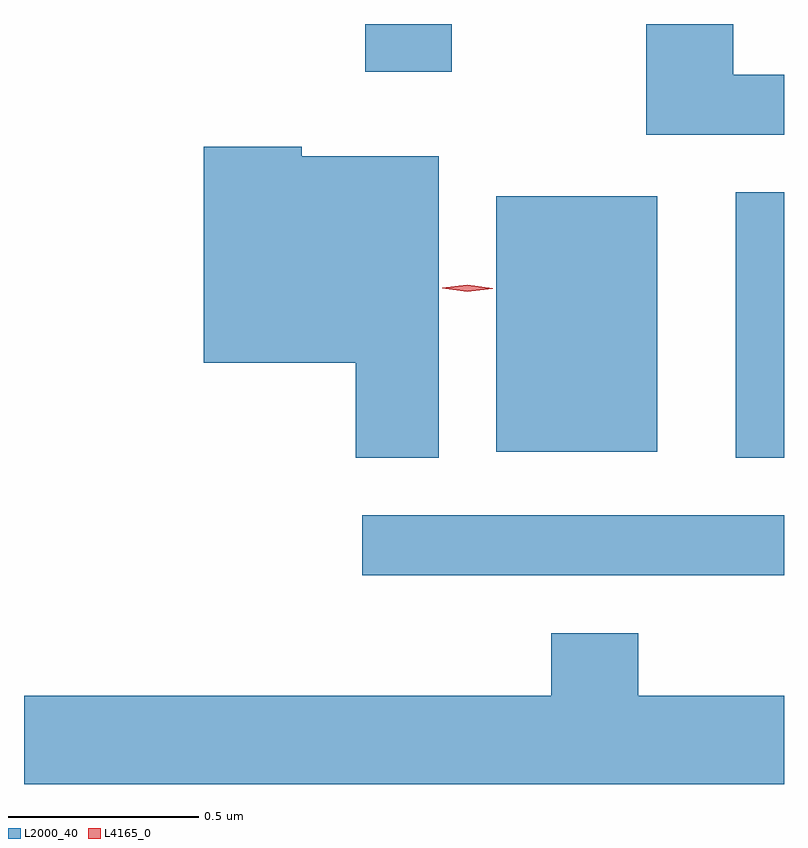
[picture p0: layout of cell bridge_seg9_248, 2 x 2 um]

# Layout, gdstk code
import gdstk
lib = gdstk.Library(unit=1e-6, precision=1e-09)
def R(c, l, rs):  # rectangles x0, y0, x1, y1
    for r in rs: c.add(gdstk.rectangle(r[:2], r[2:], *l))
def P(c, l, *ps):  # polygons
    for p in ps: c.add(gdstk.Polygon(p, *l))
L2000_40 = (2000, 40)
L4165_0 = (4165, 0)

bridge_seg9_248 = lib.new_cell('bridge_seg9_248')
R(bridge_seg9_248, L2000_40, [(1449.633,1956.881,1450.743,1957.039), (1450.616,1957.191,1450.743,1957.889), (1449.986,1957.206,1450.409,1957.879), (1449.641,1958.206,1449.869,1958.332)])
P(bridge_seg9_248, L2000_40, [(1450.743,1958.199),(1450.609,1958.199),(1450.609,1958.332),(1450.381,1958.332),(1450.381,1958.041),(1450.743,1958.041)],
  [(1449.834,1957.984),(1449.474,1957.984),(1449.474,1958.009),(1449.216,1958.009),(1449.216,1957.441),(1449.616,1957.441),(1449.616,1957.191),(1449.834,1957.191)],
  [(1450.743,1956.564),(1450.359,1956.564),(1450.359,1956.729),(1450.131,1956.729),(1450.131,1956.564),(1448.743,1956.564),(1448.743,1956.332),(1450.743,1956.332)])
P(bridge_seg9_248, L4165_0, [(1449.91,1957.627),(1449.844,1957.637),(1449.844,1957.637),(1449.844,1957.638),(1449.91,1957.646),(1449.976,1957.636),(1449.976,1957.636),(1449.976,1957.635)])

lib.write_gds('bridge_seg9_248.gds')
